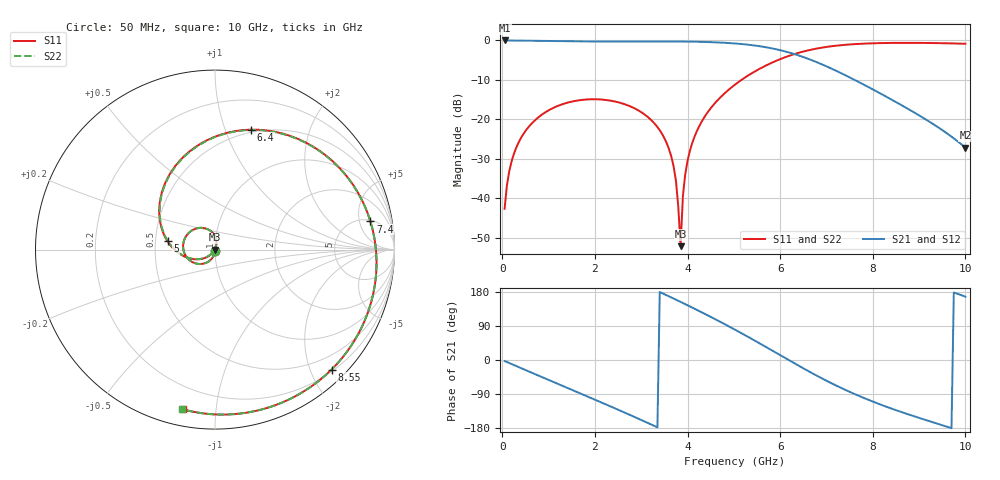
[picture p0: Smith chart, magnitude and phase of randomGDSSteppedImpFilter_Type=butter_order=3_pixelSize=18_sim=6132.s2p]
! freq	dB(S11)	phase(S11)	dB(S12)	phase(S12)
!  dB(S21)	phase(S21)	dB(S22)	phase(S22)
!S-par simulation data
#  GHz  S  DB  R 50
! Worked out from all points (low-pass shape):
!   200 points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, 50 MHz to 10 GHz, reference 50 ohm
!   highest |S21| = 0.00 dB at 50 MHz (marker M1); lowest = -27.2 dB at 10 GHz (marker M2)
!   |S21| within 3 dB of the highest: start of sweep to 6.176 GHz
!   lowest |S11| = -52.1 dB at 3.85 GHz (marker M3), VSWR 1.00, Z = 49.8 - j0.0528 ohm
!   |S11| at or under -10 dB: start of sweep to 5.165 GHz
!   |S22| runs from -50.8 to -0.6 dB; largest |S21 - S12| = 0
!   S11 on the Smith chart (normalised r, x): 50 MHz: 1.00, -0.01; 5 GHz: 0.58, +0.06; 6.4 GHz: 0.47, +1.23; 7.4 GHz: 5.29, +7.37; 8.55 GHz: 0.23, -2.35; 10 GHz: 0.08, -0.81
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0.05  -42.68 -92.2  -0.00 -2.7  -0.00 -2.7  -42.68 -92.2
0.2  -30.68 -100.6  -0.02 -10.6  -0.02 -10.6  -30.68 -100.6
0.5  -22.95 -116.6  -0.06 -26.4  -0.06 -26.4  -22.95 -116.6
1.15  -16.83 -151.2  -0.16 -60.4  -0.16 -60.4  -16.83 -151.2
1.75  -15.03 177.5  -0.25 -91.6  -0.25 -91.6  -15.03 177.4
2.5  -15.66 138.1  -0.28 -131.1  -0.28 -131.1  -15.67 138.0
3.4  -22.77 89.1  -0.25 179.4  -0.25 179.4  -22.77 89.2
3.7  -31.94 73.6  -0.26 162.2  -0.26 162.2  -31.92 74.8
3.8  -42.10 73.8  -0.27 156.3  -0.27 156.3  -41.95 78.6
3.85  -52.15 -167.6  -0.27 153.4  -0.27 153.4  -50.78 -177.1
3.9  -39.44 -127.4  -0.28 150.4  -0.28 150.4  -39.35 -132.0
3.95  -33.93 -127.2  -0.29 147.5  -0.29 147.5  -33.90 -129.8
4.1  -26.05 -134.1  -0.31 138.5  -0.31 138.5  -26.05 -135.5
5  -11.42 170.1  -0.74 81.7  -0.74 81.7  -11.42 169.4
5.05  -10.98 166.8  -0.79 78.4  -0.79 78.4  -10.98 166.1
5.75  -6.03 118.9  -1.84 30.4  -1.84 30.4  -6.03 118.3
6.4  -3.13 73.4  -3.80 -15.2  -3.80 -15.2  -3.13 72.9
6.7  -2.26 53.2  -5.08 -35.4  -5.08 -35.4  -2.26 52.7
7.4  -1.11 10.3  -8.77 -78.4  -8.77 -78.4  -1.11 9.9
8.35  -0.64 -37.1  -14.63 -125.8  -14.63 -125.8  -0.64 -37.4
8.55  -0.61 -45.8  -15.94 -134.5  -15.94 -134.5  -0.61 -46.0
10  -0.84 -101.5  -27.17 167.2  -27.17 167.2  -0.84 -101.6
